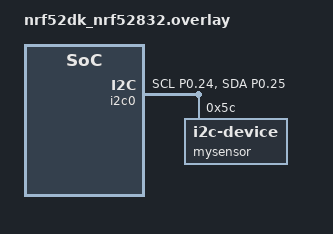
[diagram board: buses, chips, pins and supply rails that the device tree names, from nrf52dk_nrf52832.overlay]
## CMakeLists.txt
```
#
# Copyright (c) 2020 Nordic Semiconductor ASA
#
# SPDX-License-Identifier: LicenseRef-Nordic-5-Clause
#
cmake_minimum_required(VERSION 3.20.0)

find_package(Zephyr REQUIRED HINTS $ENV{ZEPHYR_BASE})
project(NONE)

# NORDIC SDK APP START
target_sources(app PRIVATE
	src/main.c
	src/model_handler.c
	src/lps28.c)
target_include_directories(app PRIVATE include)

# NORDIC SDK APP END
```

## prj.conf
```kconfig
#
# Copyright (c) 2020 Nordic Semiconductor ASA
#
# SPDX-License-Identifier: LicenseRef-Nordic-5-Clause
#
CONFIG_NCS_SAMPLES_DEFAULTS=y

# Deferred logging helps improve LPN power consumption
# when friendship is established.
CONFIG_LOG_MODE_DEFERRED=y

# General configuration
CONFIG_NCS_APPLICATION_BOOT_BANNER_STRING="Mesh Sensor"
CONFIG_SYSTEM_WORKQUEUE_STACK_SIZE=2048
CONFIG_FLASH=y
CONFIG_FLASH_MAP=y
CONFIG_NVS=y
CONFIG_NVS_LOOKUP_CACHE=y
CONFIG_SETTINGS=y
CONFIG_SETTINGS_NVS_NAME_CACHE=y
CONFIG_HWINFO=y
CONFIG_DK_LIBRARY=y
CONFIG_PM_PARTITION_SIZE_SETTINGS_STORAGE=0x8000
CONFIG_SOC_FLASH_NRF_PARTIAL_ERASE=y
CONFIG_FPU=y
CONFIG_CBPRINTF_FP_SUPPORT=y

# Temperature sensor
CONFIG_SENSOR=y
CONFIG_TEMP_NRF5=y

# Bluetooth configuration
CONFIG_BT=y
CONFIG_BT_DEVICE_NAME="Mesh Sensor"
CONFIG_BT_L2CAP_TX_BUF_COUNT=8
CONFIG_BT_OBSERVER=y
CONFIG_BT_PERIPHERAL=y
CONFIG_BT_SETTINGS=y

# Disable unused Bluetooth features
CONFIG_BT_CTLR_LE_ENC=n
CONFIG_BT_PHY_UPDATE=n
CONFIG_BT_CTLR_CHAN_SEL_2=n
CONFIG_BT_CTLR_MIN_USED_CHAN=n
CONFIG_BT_CTLR_PRIVACY=n

# Bluetooth Mesh configuration
CONFIG_BT_MESH=y
CONFIG_BT_MESH_RELAY=y
CONFIG_BT_MESH_FRIEND=y
CONFIG_BT_MESH_TX_SEG_MAX=10
CONFIG_BT_MESH_PB_GATT=y
CONFIG_BT_MESH_GATT_PROXY=y
CONFIG_BT_MESH_PROXY_USE_DEVICE_NAME=y
CONFIG_BT_MESH_DK_PROV=y
CONFIG_BT_MESH_NLC_PERF_CONF=y
CONFIG_BT_MESH_MODEL_EXTENSIONS=y
CONFIG_BT_MESH_MODEL_EXTENSION_LIST_SIZE=14
# Enabling BT_MESH_NLC_PERF_CONF enables support for 3 application keys by
# default. Therefore, allow up to 3 application key bindings per model instance.
CONFIG_BT_MESH_MODEL_KEY_COUNT=3

# Bluetooth Mesh models
CONFIG_BT_MESH_SENSOR_SRV=y
CONFIG_BT_MESH_SENSOR_SRV_SENSORS_MAX=7

# Increase default delayable message config to avoid insuffisient resources
# during normal sample operation
CONFIG_BT_MESH_ACCESS_DELAYABLE_MSG_CHUNK_COUNT=60
CONFIG_BT_MESH_TX_SEG_MSG_COUNT=2
CONFIG_BT_MESH_ACCESS_DELAYABLE_MSG_COUNT=6

# Debugging
CONFIG_BT_MESH_LOG_LEVEL_DBG=y
CONFIG_BT_MESH_PROVISIONEE_LOG_LEVEL_INF=y

#I2C Sensor
CONFIG_I2C=y
CONFIG_SERIAL=y
#CONFIG_NEWLIB_LIBC=y
#CONFIG_NEWLIB_LIBC_FLOAT_PRINTF=y
```

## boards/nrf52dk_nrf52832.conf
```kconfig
#
# Copyright (c) 2024 Nordic Semiconductor ASA
#
# SPDX-License-Identifier: LicenseRef-Nordic-5-Clause
#
################################################################################
# Application overlay - nrf52dk_nrf52832

CONFIG_SOC_FLASH_NRF_PARTIAL_ERASE=n
```

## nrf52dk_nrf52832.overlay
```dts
// To get started, press Ctrl+Space to bring up the completion menu and view the available nodes.

// You can also use the buttons in the sidebar to perform actions on nodes.
// Actions currently available include:

// * Enabling / disabling the node
// * Adding the bus to a bus
// * Removing the node
// * Connecting ADC channels

// For more help, browse the DeviceTree documentation at https://docs.zephyrproject.org/latest/guides/dts/index.html
// You can also visit the nRF DeviceTree extension documentation at https://docs.nordicsemi.com/bundle/nrf-connect-vscode/page/guides/ncs_configure_app.html#devicetree-support-in-the-extension
&i2c0 {
    status = "okay";
    pinctrl-0 = <&i2c0_default>;
	pinctrl-1 = <&i2c0_sleep>;
    pinctrl-names = "default", "sleep";
    mysensor: mysensor@5C{
        compatible = "i2c-device";
        status = "okay";
        reg = < 0x5C >;
        zephyr,deferred-init;
    };
};

&pinctrl {
	/omit-if-no-ref/ i2c0_default: i2c0_default {
		group1  {
			psels = <NRF_PSEL(TWIM_SCL, 0, 24)>,
					<NRF_PSEL(TWIM_SDA, 0, 25)>;
		};
	};

	/omit-if-no-ref/ i2c0_sleep: i2c0_sleep {
		group1  {
			psels = <NRF_PSEL(TWIM_SCL, 0, 24)>,
					<NRF_PSEL(TWIM_SDA, 0, 25)>;
			low-power-enable;
		};
	};
};
```

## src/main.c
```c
/*
 * Copyright (c) 2020 Nordic Semiconductor ASA
 *
 * SPDX-License-Identifier: LicenseRef-Nordic-5-Clause
 */

/** @file
 *  @brief Nordic mesh sensor sample
 */
#include <zephyr/kernel.h>
#include <zephyr/bluetooth/bluetooth.h>
#include <bluetooth/mesh/models.h>
#include <bluetooth/mesh/dk_prov.h>
#include <dk_buttons_and_leds.h>
#include <zephyr/sys/printk.h>
#include "model_handler.h"
#include "lps28.h"

static void bt_ready(int err)
{
	if (err) {
		printk("Bluetooth init failed (err %d)\n", err);
		return;
	}

	printk("Bluetooth initialized\n");

	err = dk_leds_init();
	if (err) {
		printk("Initializing LEDs failed (err %d)\n", err);
		return;
	}

	err = dk_buttons_init(NULL);
	if (err) {
		printk("Initializing buttons failed (err %d)\n", err);
		return;
	}

	err = lps28_init();
	if (err) {
		printk("Initializing LPS28 Sensor failed (err %d)\n", err);
		return;
	}

	err = bt_mesh_init(bt_mesh_dk_prov_init(), model_handler_init());
	if (err) {
		printk("Initializing mesh failed (err %d)\n", err);
		return;
	}

	if (IS_ENABLED(CONFIG_SETTINGS)) {
		settings_load();
	}

	/* This will be a no-op if settings_load() loaded provisioning info */
	bt_mesh_prov_enable(BT_MESH_PROV_ADV | BT_MESH_PROV_GATT);

	printk("Mesh initialized\n");
}

int main(void)
{
	int err;

	printk("Initializing...\n");

	err = bt_enable(bt_ready);
	if (err) {
		printk("Bluetooth init failed (err %d)\n", err);
	}

	return 0;
}
```

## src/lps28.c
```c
#include "lps28.h"
#include <zephyr/logging/log.h>
#include <zephyr/sys/printk.h>
#include <zephyr/device.h>
#include <zephyr/drivers/i2c.h>
#include <zephyr/kernel.h>

LOG_MODULE_REGISTER(lps28_driver, CONFIG_LOG_DEFAULT_LEVEL);

/* LPS28 register definitions */
#define LPS28_WHOAMI_REG     0x0F
#define LPS28_CHIP_ID        0xB4
#define LPS28_CTRL_REG1      0x10
#define LPS28_CTRL_REG2      0x11
#define LPS28_STATUS_REG     0x27
#define LPS28_TEMP_OUT_L     0x2B
#define LPS28_PRESS_OUT_XL   0x28

#define I2C_NODE DT_NODELABEL(mysensor)
static const struct i2c_dt_spec dev_i2c = I2C_DT_SPEC_GET(I2C_NODE);

/* Initialize the sensor: check WHOAMI, reset, set one‐shot mode */
int lps28_init(void)
{
    if (!device_is_ready(dev_i2c.bus)) {
        printk("I2C bus %s is not ready!\n", dev_i2c.bus->name);
        return -ENODEV;
    }

    /* Read WHOAMI to verify sensor is present */
    uint8_t id = 0;
    uint8_t reg = LPS28_WHOAMI_REG;
    if (i2c_write_read_dt(&dev_i2c, &reg, 1, &id, 1) != 0 || id != LPS28_CHIP_ID) {
        printk("LPS28 not found or ID mismatch! Read: 0x%02X\n", id);
        return -ENODEV;
    }
    LOG_INF("LPS28 found! WHOAMI = 0x%02X", id);

    /* Perform a software reset */
    uint8_t reset_cmd[] = { LPS28_CTRL_REG2, 0x04 };
    i2c_write_dt(&dev_i2c, reset_cmd, 2);
    k_msleep(100);

    /* Set FS_MODE = 1 (continuous update off), BDU = 1 (block data update) */
    uint8_t ctrl2[] = { LPS28_CTRL_REG2, 0x48 };
    i2c_write_dt(&dev_i2c, ctrl2, 2);

    /* Set ODR = 0 → one‐shot mode only (no continuous sampling) */
    uint8_t ctrl1[] = { LPS28_CTRL_REG1, 0x00 };
    i2c_write_dt(&dev_i2c, ctrl1, 2);

    return 0;
}

/*
 * Trigger a one‐shot conversion, poll STATUS until both temp+press ready,
 * read raw bytes, convert to floats, and store into *data.
 */
int lps28_fetch(struct lps28_data *data)
{
    if (!data) {
        return -EINVAL;
    }

    /* 1) Trigger one‐shot measurement */
    uint8_t trigger_cmd[] = { LPS28_CTRL_REG2, 0x49 };
    if (i2c_write_dt(&dev_i2c, trigger_cmd, 2) != 0) {
        printk("Failed to trigger one‐shot\n");
        return -EIO;
    }

    /* 2) Poll STATUS_REG until both temperature & pressure are ready (bits 0 & 1 = 1) */
    uint8_t status = 0;
    uint8_t status_reg = LPS28_STATUS_REG;
    for (int i = 0; i < 50; i++) {
        if (i2c_write_read_dt(&dev_i2c, &status_reg, 1, &status, 1) != 0) {
            printk("Failed to read status\n");
            return -EIO;
        }
        if ((status & 0x03) == 0x03) {
            break; /* both T & P ready */
        }
        k_msleep(10);
    }
    if ((status & 0x03) != 0x03) {
        printk("LPS28 data not ready in time (status=0x%02X)\n", status);
        return -EIO;
    }

    /* 3) Read raw temperature (2 bytes: OUT_L, OUT_H) */
    uint8_t temp_raw[2] = {0};
    if (i2c_burst_read_dt(&dev_i2c, LPS28_TEMP_OUT_L, temp_raw, 2) != 0) {
        printk("I2C read temp failed\n");
        return -EIO;
    }
    int16_t raw_temp = (int16_t)((temp_raw[1] << 8) | temp_raw[0]);
    /* Convert LPS28 raw to °C: datasheet says: T = raw_temp * 0.01 */
    data->temp_c = raw_temp * 0.01f;

    /* 4) Read raw pressure (3 bytes: OUT_XL, OUT_L, OUT_H) */
    uint8_t press_raw[3] = {0};
    if (i2c_burst_read_dt(&dev_i2c, LPS28_PRESS_OUT_XL, press_raw, 3) != 0) {
        printk("I2C read pressure failed\n");
        return -EIO;
    }
    int32_t raw_press = ((int32_t)press_raw[2] << 16) |
                        ((int32_t)press_raw[1] << 8) |
                        (int32_t)press_raw[0];
    /* Convert LPS28 raw to hPa: datasheet says: P(hPa) = raw_press / 2048.0 */
    data->press_hpa = raw_press / 2048.0f;

    return 0;
}
```
